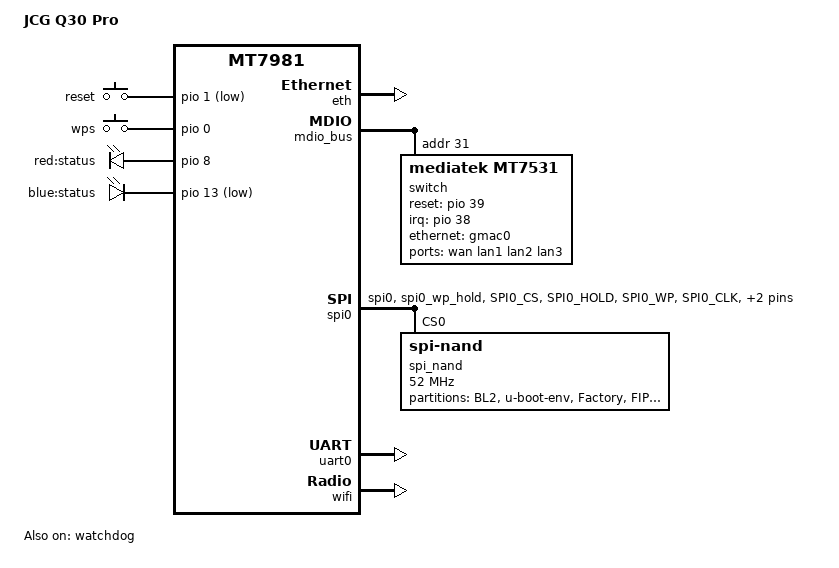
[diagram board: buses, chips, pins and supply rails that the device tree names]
// SPDX-License-Identifier: GPL-2.0-or-later OR MIT
/*
 * Copyright (C) Tianling Shen <cnsztl@immortalwrt.org>
 */

/dts-v1/;
#include <dt-bindings/gpio/gpio.h>
#include <dt-bindings/input/input.h>

#include "mt7981.dtsi"

/ {
	model = "JCG Q30 Pro";
	compatible = "jcg,q30_pro", "mediatek,mt7981";

	aliases {
		led-boot = &status_red_led;
		led-failsafe = &status_red_led;
		led-running = &status_blue_led;
		led-upgrade = &status_blue_led;
		serial0 = &uart0;
	};

	chosen {
		stdout-path = "serial0:115200n8";
	};

	gpio-keys {
		compatible = "gpio-keys";

		button-reset {
			label = "reset";
			linux,code = <KEY_RESTART>;
			gpios = <&pio 1 GPIO_ACTIVE_LOW>;
		};

		button-wps {
			label = "wps";
			linux,code = <KEY_WPS_BUTTON>;
			gpios = <&pio 0 GPIO_ACTIVE_HIGH>;
		};
	};

	gpio-leds {
		compatible = "gpio-leds";

		status_red_led: led-0 {
			label = "red:status";
			gpios = <&pio 8 GPIO_ACTIVE_HIGH>;
		};

		status_blue_led: led-1 {
			label = "blue:status";
			gpios = <&pio 13 GPIO_ACTIVE_LOW>;
		};
	};
};

&eth {
	pinctrl-names = "default";
	pinctrl-0 = <&mdio_pins>;

	status = "okay";

	gmac0: mac@0 {
		compatible = "mediatek,eth-mac";
		reg = <0>;
		phy-mode = "2500base-x";

		nvmem-cells = <&macaddr_factory_a002a>;
		nvmem-cell-names = "mac-address";

		fixed-link {
			speed = <2500>;
			full-duplex;
			pause;
		};
	};
};

&mdio_bus {
	switch: switch@0 {
		compatible = "mediatek,mt7531";
		reg = <31>;
		reset-gpios = <&pio 39 GPIO_ACTIVE_HIGH>;
		interrupt-controller;
		#interrupt-cells = <1>;
		interrupt-parent = <&pio>;
		interrupts = <38 IRQ_TYPE_LEVEL_HIGH>;
	};
};

&spi0 {
	pinctrl-names = "default";
	pinctrl-0 = <&spi0_flash_pins>;
	status = "okay";

	spi_nand: flash@0 {
		#address-cells = <1>;
		#size-cells = <1>;
		compatible = "spi-nand";
		reg = <0>;
		spi-max-frequency = <52000000>;

		spi-cal-enable;
		spi-cal-mode = "read-data";
		spi-cal-datalen = <7>;
		spi-cal-data = /bits/ 8 <0x53 0x50 0x49 0x4E 0x41 0x4E 0x44>;
		spi-cal-addrlen = <5>;
		spi-cal-addr = /bits/ 32 <0x0 0x0 0x0 0x0 0x0>;

		spi-tx-buswidth = <4>;
		spi-rx-buswidth = <4>;
		mediatek,nmbm;
		mediatek,bmt-max-ratio = <1>;
		mediatek,bmt-max-reserved-blocks = <64>;

		partitions {
			compatible = "fixed-partitions";
			#address-cells = <1>;
			#size-cells = <1>;

			partition@0 {
				label = "BL2";
				reg = <0x00000 0x100000>;
			};

			partition@100000 {
				label = "u-boot-env";
				reg = <0x100000 0x80000>;
			};

			factory: partition@180000 {
				label = "Factory";
				reg = <0x180000 0x200000>;

				compatible = "nvmem-cells";
				#address-cells = <1>;
				#size-cells = <1>;

				macaddr_factory_a002a: macaddr@a002a {
					reg = <0xa002a 0x6>;
				};

				macaddr_factory_a0024: macaddr@a0024 {
					reg = <0xa0024 0x6>;
				};
			};

			partition@380000 {
				label = "FIP";
				reg = <0x380000 0x200000>;
			};

			partition@580000 {
				label = "ubi";
				reg = <0x580000 0x6e80000>;
			};
		};
	};
};

&switch {
	ports {
		#address-cells = <1>;
		#size-cells = <0>;

		port@0 {
			reg = <0>;
			label = "wan";

			nvmem-cells = <&macaddr_factory_a0024>;
			nvmem-cell-names = "mac-address";
		};

		port@1 {
			reg = <1>;
			label = "lan1";
		};

		port@2 {
			reg = <2>;
			label = "lan2";
		};

		port@3 {
			reg = <3>;
			label = "lan3";
		};

		port@6 {
			reg = <6>;
			ethernet = <&gmac0>;
			phy-mode = "2500base-x";

			fixed-link {
				speed = <2500>;
				full-duplex;
				pause;
			};
		};
	};
};

&pio {
	spi0_flash_pins: spi0-pins {
		mux {
			function = "spi";
			groups = "spi0", "spi0_wp_hold";
		};

		conf-pu {
			pins = "SPI0_CS", "SPI0_HOLD", "SPI0_WP";
			drive-strength = <8>;
			bias-pull-up = <103>;
		};

		conf-pd {
			pins = "SPI0_CLK", "SPI0_MOSI", "SPI0_MISO";
			drive-strength = <8>;
			bias-pull-down = <103>;
		};
	};
};

&uart0 {
	status = "okay";
};

&watchdog {
	status = "okay";
};

&wifi {
	status = "okay";

	mediatek,mtd-eeprom = <&factory 0x0>;
};
